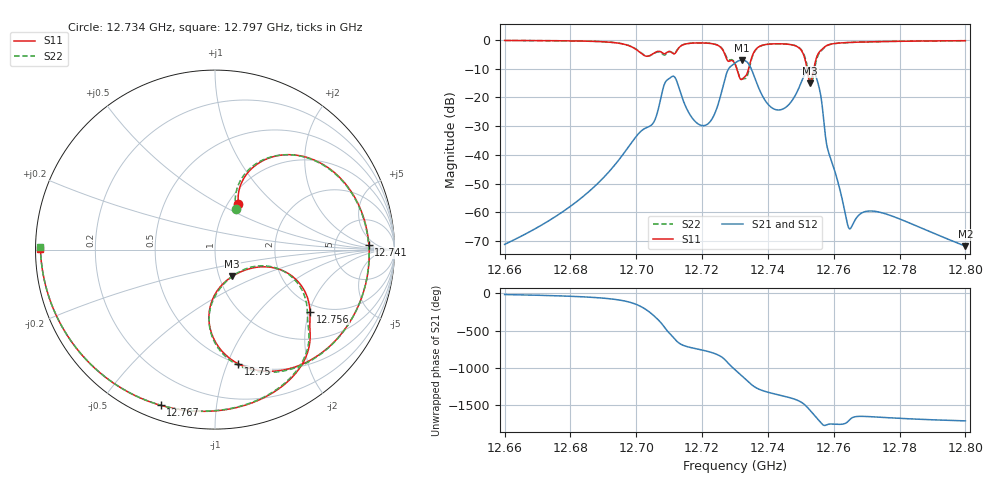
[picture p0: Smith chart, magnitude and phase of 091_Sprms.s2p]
! TOUCHSTONE file generated by CST MICROWAVE STUDIO
! Date and time: Wed Jul 31 15:19:51 2024
! Project name: WaveGuide_BPF-Ver4.1_U-shape_Ku_T3_C4_CWA_2.cst
! Parameters = {cavity_h=16; cavity_l0=10; cavity_l1=15.1645; cavity_l2=16.8821; cavity_l3=17.0809; cavity_l4=17.2475; cavity_l5=17.1712; cavity_l6=17.5689; cavity_r=2.5; cavity_screw_l=0.5; cavity_screw_r=1.5; cavity_w=8; iris_h00=0; iris_h01=8.8166; iris_h112=0; iris_h12=5.5908; iris_h211=3.6521; 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
! Header version: 2018
! Port assignment regex: !\s*Touchstone port\s*([0-9]+)\s*=\s*(CST MWS port|CST DS port)\s*([0-9]+|Zmin|Zmax)\s*\(\"(.*)\"\)(\s*mode\s*([0-9]+))?.*
! Touchstone port assignment:
! Touchstone port 1 = CST MWS port 1 ("")
! Touchstone port 2 = CST MWS port 2 ("")
# GHz S RI R 50
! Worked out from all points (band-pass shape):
!   5001 points, 12.66 GHz to 12.8 GHz, reference 50 ohm
!   highest |S21| = -6.97 dB at 12.732 GHz (marker M1); lowest = -71.8 dB at 12.8 GHz (marker M2)
!   |S21| within 3 dB of the highest: 12.72809 GHz to 12.73492 GHz (6.83 MHz wide, 0.0536 % of centre); 12.75209 GHz to 12.75349 GHz (1.404 MHz wide, 0.011 % of centre)
!   lowest |S11| = -15.0 dB at 12.753 GHz (marker M3), VSWR 1.43, Z = 57.7 - j17.8 ohm
!   |S11| at or under -10 dB: 12.73054 GHz to 12.73413 GHz (3.589 MHz wide, 0.0282 % of centre); 12.75188 GHz to 12.75393 GHz (2.05 MHz wide, 0.0161 % of centre)
!   |S22| runs from -15.0 to -0.1 dB; largest |S21 - S12| = 1.4e-09
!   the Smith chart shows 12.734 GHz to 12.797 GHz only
!   S11 on the Smith chart (normalised r, x): 12.734 GHz: 1.12, +0.62; 12.741 GHz: 13, +3; 12.75 GHz: 0.50, -1.09; 12.756 GHz: 1.76, -2.03; 12.767 GHz: 0.06, -0.71; 12.797 GHz: 0.01, +0.00
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12.66  0.2097 0.9615  0.000264 -7.93e-05  0.000264 -7.93e-05  0.2121 0.961
12.68335  0.6032 0.7481  0.00123 -0.00129  0.00123 -0.00129  0.605 0.7468
12.69634  0.844 0.0259  -0.00226 -0.0106  -0.00226 -0.0106  0.8473 0.0331
12.70136  0.1649 -0.5715  -0.0255 -0.00159  -0.0255 -0.00159  0.1999 -0.5723
12.70421  -0.5242 -0.1305  -0.00653 0.0311  -0.00653 0.0311  -0.5068 -0.1718
12.70668  -0.4144 0.4838  0.0619 0.00421  0.0619 0.00421  -0.4234 0.4551
12.71127  -0.033 0.5785  -0.1463 0.1832  -0.1463 0.1832  -0.0633 0.5898
12.72143  0.6781 0.5679  0.0189 -0.0278  0.0189 -0.0278  0.6735 0.5746
12.72768  0.4435 -0.0116  -0.2601 0.1176  -0.2601 0.1176  0.4746 -0.0138
12.73  0.382 -0.0256  0.2249 0.3274  0.2249 0.3274  0.3888 -0.0405
12.73207  0.1864 0.0889  0.4016 -0.199  0.4016 -0.199  0.1973 0.0698
12.73392  0.1307 0.2552  -0.0789 -0.3916  -0.0789 -0.3916  0.1185 0.2257
12.74137  0.8573 0.0266  -0.00832 0.0646  -0.00832 0.0646  0.856 0.0261
12.75024  0.1296 -0.6365  0.1743 -0.077  0.1743 -0.077  0.1436 -0.6516
12.75285  0.0964 -0.149  -0.2212 -0.251  -0.2212 -0.251  0.0485 -0.1922
12.75335  0.1849 -0.1087  -0.2986 -0.1243  -0.2986 -0.1243  0.1234 -0.1304
12.75573  0.5292 -0.3454  0.0166 0.1335  0.0166 0.1335  0.513 -0.3227
12.76419  -0.0851 -0.901  0.000157 0.000596  0.000157 0.000596  -0.0922 -0.8998
12.76721  -0.3025 -0.8676  -0.000717 0.000441  -0.000717 0.000441  -0.3104 -0.8647
12.77668  -0.7382 -0.5908  -0.000594 0.000679  -0.000594 0.000679  -0.7436 -0.5843
12.79728  -0.9727 0.00605  -1.38e-05 0.000296  -1.38e-05 0.000296  -0.9728 0.0122
12.8  -0.9726 0.0637  3.56e-06 0.000257  3.56e-06 0.000257  -0.9724 0.0695
